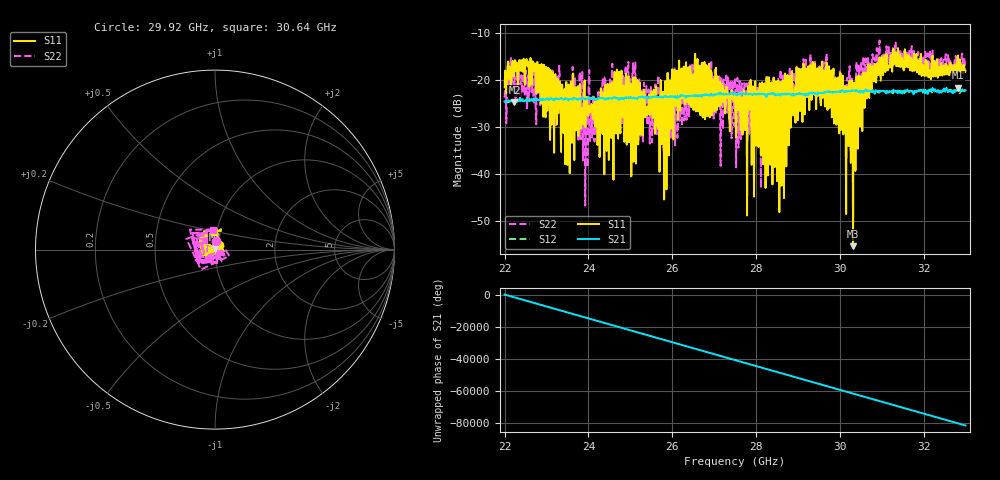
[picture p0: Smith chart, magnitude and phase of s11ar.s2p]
!Keysight Technologies,N5224B,MY57181201,A.12.70.07
!Date: Friday, July 15, 2022 16:14:30
!Correction: S11(Full 2 Port(1,2))
!S21(Full 2 Port(1,2))
!S12(Full 2 Port(1,2))
!S22(Full 2 Port(1,2))
!S2P File: Measurements: S11, S21, S12, S22:
# Hz S  dB  R 50
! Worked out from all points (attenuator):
!   801 points, 22 GHz to 33 GHz, reference 50 ohm
!   highest |S21| = -21.63 dB at 32.82 GHz (marker M1); lowest = -24.7 dB at 22.23 GHz (marker M2)
!   lowest |S11| = -55.4 dB at 30.32 GHz (marker M3), VSWR 1.00, Z = 50.1 + j0.0877 ohm
!   |S11| at or under -10 dB: start of sweep to end of sweep
!   |S22| runs from -46.8 to -11.6 dB; largest |S21 - S12| = 0.0072
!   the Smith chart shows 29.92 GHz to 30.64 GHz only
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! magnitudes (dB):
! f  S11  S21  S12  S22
! 22 GHz  -21.5  -24.6  -24.6  -23.7
! 22.23 GHz  -16.7  -24.7  -24.6  -19.3
! 22.67 GHz  -16.0  -24.2  -24.4  -18.3
! 23.5 GHz  -38.1  -24.0  -23.9  -24.7
! 23.84 GHz  -26.0  -24.2  -24.2  -19.0
! 23.93 GHz  -30.1  -23.9  -23.9  -46.8
! 24.21 GHz  -33.8  -23.9  -24.0  -29.4
! 24.9 GHz  -18.6  -23.7  -23.7  -19.1
! 25.67 GHz  -25.1  -23.7  -23.7  -19.0
! 25.75 GHz  -33.7  -23.6  -23.5  -32.9
! 26.11 GHz  -18.0  -23.9  -23.6  -21.8
! 26.59 GHz  -16.8  -23.4  -23.5  -16.1
! 27.5 GHz  -23.1  -23.0  -23.0  -19.6
! 28.17 GHz  -38.0  -22.9  -23.0  -29.4
! 28.61 GHz  -42.5  -23.0  -23.0  -28.1
! 28.81 GHz  -19.1  -23.0  -23.1  -17.2
! 29.34 GHz  -19.2  -22.8  -23.1  -20.7
! 30.32 GHz  -55.4  -22.2  -22.4  -29.0
! 30.68 GHz  -16.6  -22.4  -22.5  -14.9
! 31.17 GHz  -16.8  -22.7  -22.3  -13.0
! 32.82 GHz  -14.8  -21.6  -21.9  -15.8
! 33 GHz  -18.1  -22.2  -22.2  -18.2
